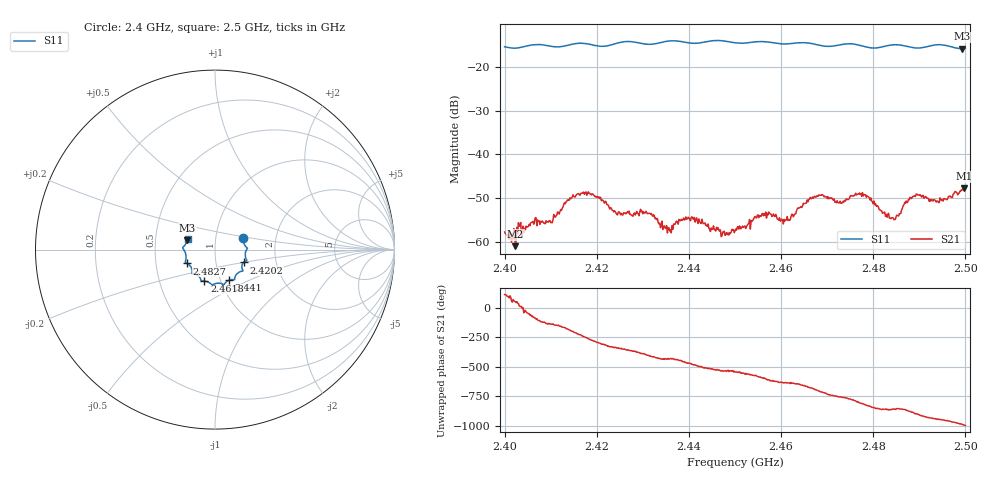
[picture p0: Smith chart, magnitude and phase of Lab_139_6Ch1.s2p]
# Hz S RI R 50
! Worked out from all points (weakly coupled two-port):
!   601 points, 2.4 GHz to 2.5 GHz, reference 50 ohm
!   highest |S21| = -47.77 dB at 2.4997 GHz (marker M1); lowest = -61.1 dB at 2.4023 GHz (marker M2)
!   lowest |S11| = -15.8 dB at 2.4993 GHz (marker M3), VSWR 1.39, Z = 36.5 + j3.81 ohm
!   |S11| at or under -10 dB: start of sweep to end of sweep
!   S12 and S22 are empty: the file has one direction only
!   S11 on the Smith chart (normalised r, x): 2.4 GHz: 1.36, +0.18; 2.4202 GHz: 1.36, -0.20; 2.441 GHz: 1.10, -0.39; 2.4618 GHz: 0.84, -0.30; 2.4827 GHz: 0.72, -0.11; 2.5 GHz: 0.73, +0.09
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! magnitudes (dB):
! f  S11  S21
! 2.4 GHz  -15.4  -57.8
! 2.4023 GHz  -15.7  -61.1
! 2.41 GHz  -15.2  -55.6
! 2.4167 GHz  -14.5  -49.0
! 2.4202 GHz  -15.2  -49.7
! 2.424 GHz  -14.7  -53.2
! 2.4333 GHz  -14.5  -55.6
! 2.4358 GHz  -14.0  -57.6
! 2.441 GHz  -14.5  -54.9
! 2.45 GHz  -14.4  -57.6
! 2.4562 GHz  -14.2  -54.1
! 2.4618 GHz  -14.7  -55.1
! 2.4667 GHz  -14.6  -50.1
! 2.4778 GHz  -15.2  -49.5
! 2.4827 GHz  -15.2  -54.2
! 2.4833 GHz  -15.1  -53.5
! 2.485 GHz  -14.9  -54.2
! 2.489 GHz  -15.6  -49.5
! 2.4938 GHz  -14.9  -50.7
! 2.4993 GHz  -15.8  -48.1
! 2.4997 GHz  -15.8  -47.8
! 2.5 GHz  -15.7  -47.8
